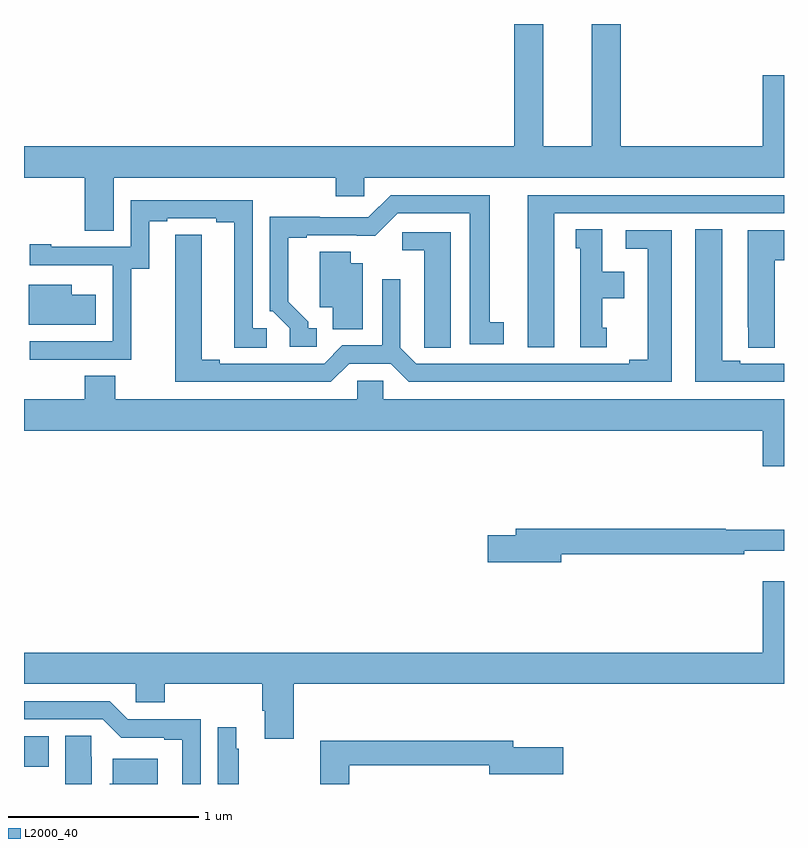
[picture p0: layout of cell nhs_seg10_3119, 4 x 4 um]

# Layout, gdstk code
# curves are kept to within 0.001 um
import gdstk
lib = gdstk.Library(unit=1e-6, precision=1e-09)
def R(c, l, rs):  # rectangles x0, y0, x1, y1
    for r in rs: c.add(gdstk.rectangle(r[:2], r[2:], *l))
def P(c, l, *ps):  # polygons
    for p in ps: c.add(gdstk.Polygon(p, *l))
L2000_40 = (2000, 40)

nhs_seg10_3119 = lib.new_cell('nhs_seg10_3119')
R(nhs_seg10_3119, L2000_40, [(281,1254.592,281.131,1254.751)])
P(nhs_seg10_3119, L2000_40, [(281.473,1257.692),(282.641,1257.692),(282.641,1257.594),(282.792,1257.594),(282.792,1257.692),(285,1257.692),(285,1258.231),(284.888,1258.231),(284.888,1257.856),(284.141,1257.856),(284.141,1258.5),(283.988,1258.5),(283.988,1257.856),(283.732,1257.856),(283.732,1258.5),(283.58,1258.5),(283.58,1257.856),(281,1257.856),(281,1257.692),(281.321,1257.692),(281.321,1257.412),(281.473,1257.412)],
  [(283.792,1257.504),(285,1257.504),(285,1257.6),(283.652,1257.6),(283.652,1256.799),(283.792,1256.799)],
  [(282.541,1256.898),(282.496,1256.898),(282.496,1256.933),(282.391,1257.038),(282.391,1257.375),(282.487,1257.375),(282.487,1257.387),(282.848,1257.386),(282.966,1257.504),(283.346,1257.504),(283.346,1256.814),(283.525,1256.814),(283.525,1256.93),(283.45,1256.93),(283.45,1257.6),(282.93,1257.6),(282.813,1257.483),(282.557,1257.483),(282.557,1257.485),(282.294,1257.485),(282.294,1256.988),(282.309,1256.988),(282.399,1256.898),(282.399,1256.802),(282.541,1256.802)],
  [(281.565,1257.211),(281.659,1257.211),(281.659,1257.462),(281.755,1257.462),(281.755,1257.477),(282.011,1257.477),(282.011,1257.457),(282.107,1257.457),(282.107,1256.797),(282.277,1256.797),(282.277,1256.898),(282.204,1256.898),(282.204,1257.573),(281.562,1257.573),(281.562,1257.327),(281.143,1257.327),(281.143,1257.34),(281.031,1257.34),(281.031,1257.231),(281.465,1257.231),(281.465,1257.23),(281.466,1257.23),(281.466,1256.829),(281.031,1256.829),(281.031,1256.733),(281.565,1256.733)],
  [(285,1256.712),(284.77,1256.712),(284.77,1256.727),(284.674,1256.727),(284.674,1257.419),(284.534,1257.419),(284.534,1256.616),(285,1256.616)],
  [(284.068,1256.901),(284.044,1256.901),(284.044,1257.056),(284.158,1257.056),(284.158,1257.196),(284.044,1257.196),(284.044,1257.419),(283.904,1257.419),(283.904,1257.321),(283.928,1257.321),(283.928,1256.799),(284.068,1256.799)],
  [(284.95,1257.256),(285,1257.256),(285,1257.415),(284.81,1257.415),(284.81,1256.905),(284.811,1256.905),(284.811,1256.797),(284.95,1256.797)],
  [(282.711,1256.712),(282.929,1256.712),(283.025,1256.616),(284.41,1256.616),(284.41,1257.414),(284.166,1257.414),(284.166,1257.318),(284.282,1257.318),(284.282,1256.732),(284.186,1256.732),(284.186,1256.712),(283.065,1256.712),(282.981,1256.796),(282.981,1257.157),(282.885,1257.157),(282.885,1256.808),(282.675,1256.808),(282.579,1256.712),(282.031,1256.712),(282.031,1256.732),(281.935,1256.732),(281.935,1257.392),(281.796,1257.392),(281.795,1256.616),(282.615,1256.616)],
  [(283.246,1257.405),(282.99,1257.405),(282.99,1257.308),(283.106,1257.308),(283.106,1256.905),(283.107,1256.905),(283.107,1256.797),(283.246,1256.797)],
  [(282.784,1257.241),(282.721,1257.241),(282.721,1257.302),(282.557,1257.302),(282.557,1257.008),(282.626,1257.008),(282.626,1256.893),(282.784,1256.893)],
  [(281.377,1257.076),(281.251,1257.076),(281.251,1257.127),(281.024,1257.127),(281.024,1256.918),(281.377,1256.918)],
  [(285,1256.524),(282.891,1256.524),(282.891,1256.622),(282.753,1256.622),(282.753,1256.524),(281.481,1256.524),(281.481,1256.648),(281.321,1256.648),(281.321,1256.524),(281,1256.524),(281,1256.36),(284.888,1256.36),(284.888,1256.172),(285,1256.172)],
  [(283.828,1255.708),(284.792,1255.708),(284.792,1255.727),(285,1255.727),(285,1255.837),(284.693,1255.837),(284.693,1255.844),(283.589,1255.844),(283.589,1255.808),(283.44,1255.808),(283.44,1255.666),(283.828,1255.666)],
  [(282.419,1255.028),(285,1255.028),(285,1255.567),(284.888,1255.567),(284.888,1255.192),(281,1255.192),(281,1255.028),(281.589,1255.028),(281.589,1254.93),(281.741,1254.93),(281.741,1255.028),(282.254,1255.028),(282.254,1254.886),(282.266,1254.886),(282.266,1254.738),(282.419,1254.738)],
  [(281.931,1254.84),(281.547,1254.84),(281.451,1254.936),(281,1254.936),(281,1254.84),(281.415,1254.84),(281.511,1254.744),(281.738,1254.744),(281.738,1254.732),(281.834,1254.732),(281.834,1254.5),(281.931,1254.5)],
  [(282.13,1254.686),(282.118,1254.686),(282.118,1254.799),(282.021,1254.799),(282.021,1254.5),(282.13,1254.5)],
  [(281.356,1254.644),(281.355,1254.644),(281.355,1254.755),(281.216,1254.755),(281.216,1254.5),(281.356,1254.5)],
  [(282.713,1254.598),(283.448,1254.598),(283.448,1254.551),(283.837,1254.551),(283.837,1254.693),(283.576,1254.693),(283.576,1254.727),(282.559,1254.727),(282.559,1254.5),(282.713,1254.5)],
  [(281.704,1254.634),(281.468,1254.634),(281.468,1254.501),(281.45,1254.501),(281.45,1254.5),(281.704,1254.5)])

lib.write_gds('nhs_seg10_3119.gds')
